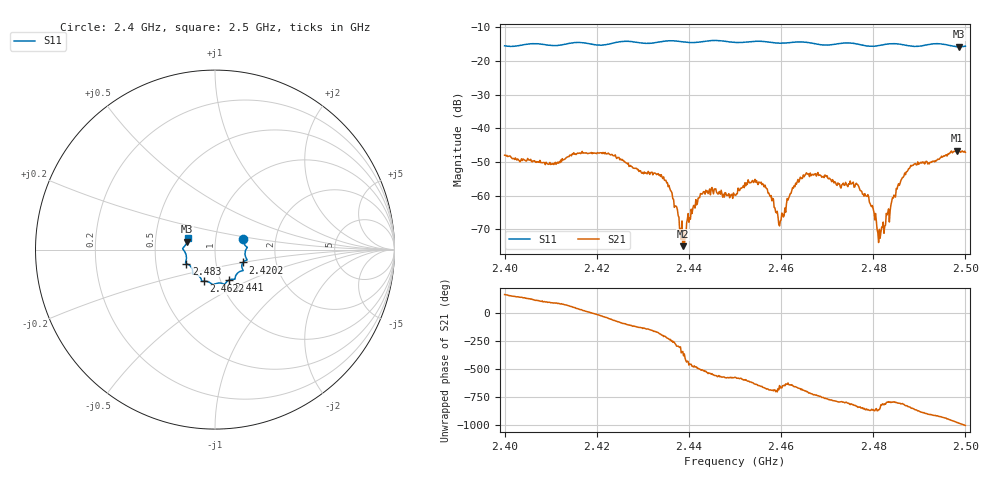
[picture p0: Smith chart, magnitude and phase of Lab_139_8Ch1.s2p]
# Hz S RI R 50
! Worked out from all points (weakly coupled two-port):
!   601 points, 2.4 GHz to 2.5 GHz, reference 50 ohm
!   highest |S21| = -46.64 dB at 2.4982 GHz (marker M1); lowest = -75.0 dB at 2.4387 GHz (marker M2)
!   lowest |S11| = -15.8 dB at 2.4987 GHz (marker M3), VSWR 1.39, Z = 36.4 + j3.34 ohm
!   |S11| at or under -10 dB: start of sweep to end of sweep
!   S12 and S22 are empty: the file has one direction only
!   S11 on the Smith chart (normalised r, x): 2.4 GHz: 1.36, +0.17; 2.4202 GHz: 1.35, -0.20; 2.441 GHz: 1.09, -0.39; 2.4622 GHz: 0.83, -0.30; 2.483 GHz: 0.72, -0.12; 2.5 GHz: 0.73, +0.10
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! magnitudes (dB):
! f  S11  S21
! 2.4 GHz  -15.5  -48.0
! 2.4167 GHz  -14.6  -47.3
! 2.4202 GHz  -15.3  -47.2
! 2.4333 GHz  -14.4  -53.4
! 2.4358 GHz  -14.0  -57.8
! 2.4387 GHz  -14.3  -75.0
! 2.441 GHz  -14.6  -62.9
! 2.4435 GHz  -14.2  -59.5
! 2.45 GHz  -14.5  -59.8
! 2.4557 GHz  -14.2  -56.0
! 2.46 GHz  -14.7  -67.2
! 2.4622 GHz  -14.5  -59.3
! 2.4667 GHz  -14.7  -53.7
! 2.4767 GHz  -15.0  -56.8
! 2.4793 GHz  -15.7  -62.4
! 2.4813 GHz  -15.4  -70.0
! 2.483 GHz  -15.0  -65.7
! 2.4833 GHz  -15.0  -63.9
! 2.4882 GHz  -15.6  -51.0
! 2.4982 GHz  -15.8  -46.6
! 2.4987 GHz  -15.8  -46.7
! 2.5 GHz  -15.6  -47.2
